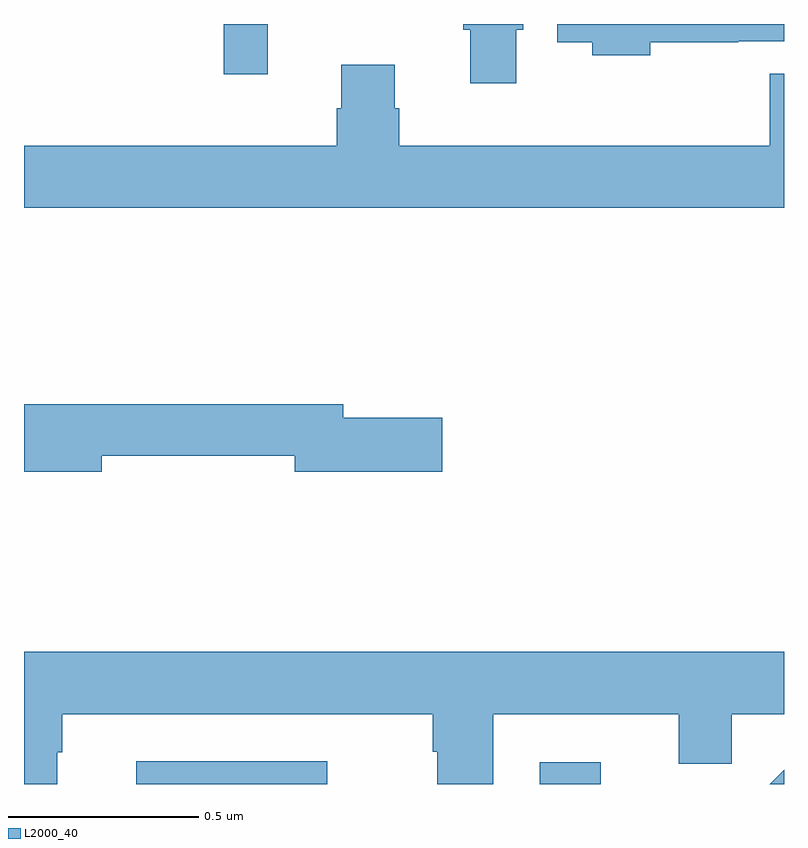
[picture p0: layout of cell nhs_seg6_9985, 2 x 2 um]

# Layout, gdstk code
import gdstk
lib = gdstk.Library(unit=1e-6, precision=1e-09)
def R(c, l, rs):  # rectangles x0, y0, x1, y1
    for r in rs: c.add(gdstk.rectangle(r[:2], r[2:], *l))
def P(c, l, *ps):  # polygons
    for p in ps: c.add(gdstk.Polygon(p, *l))
L2000_40 = (2000, 40)

nhs_seg6_9985 = lib.new_cell('nhs_seg6_9985')
R(nhs_seg6_9985, L2000_40, [(241.295,932.5,241.798,932.56), (242.357,932.5,242.518,932.557), (241.525,934.368,241.641,934.5)])
P(nhs_seg6_9985, L2000_40, [(242.648,934.452),(242.879,934.452),(242.879,934.454),(243,934.454),(243,934.5),(242.403,934.5),(242.403,934.452),(242.495,934.452),(242.495,934.418),(242.648,934.418)],
  [(242.296,934.485),(242.314,934.485),(242.314,934.5),(242.156,934.5),(242.156,934.485),(242.174,934.485),(242.174,934.344),(242.296,934.344)],
  [(243,934.369),(242.963,934.369),(242.963,934.18),(241.988,934.18),(241.988,934.278),(241.975,934.278),(241.975,934.393),(241.835,934.393),(241.835,934.278),(241.823,934.278),(241.823,934.18),(241,934.18),(241,934.016),(243,934.016)],
  [(241.204,933.364),(241.712,933.364),(241.712,933.322),(242.101,933.322),(242.101,933.464),(241.84,933.464),(241.84,933.5),(241,933.5),(241,933.322),(241.204,933.322)],
  [(241.087,932.583),(241.1,932.583),(241.1,932.684),(242.075,932.684),(242.075,932.585),(242.087,932.585),(242.087,932.5),(242.235,932.5),(242.235,932.684),(242.723,932.684),(242.723,932.553),(242.862,932.553),(242.862,932.684),(243,932.684),(243,932.848),(241,932.848),(241,932.5),(241.087,932.5)],
  [(243,932.538),(242.962,932.5),(243,932.5)])

lib.write_gds('nhs_seg6_9985.gds')
